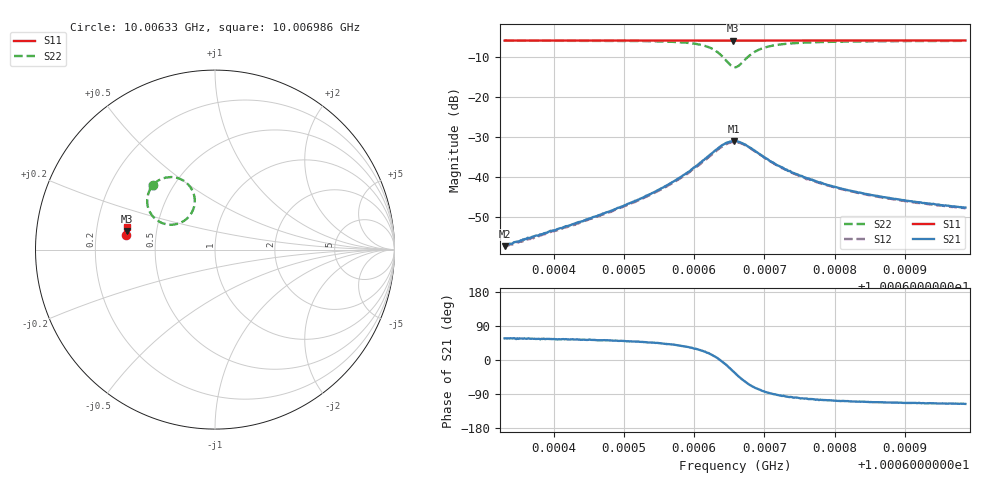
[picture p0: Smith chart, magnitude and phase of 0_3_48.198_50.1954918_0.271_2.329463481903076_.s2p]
#  HZ  S  RI  R  50.00
! Rohde & Schwarz Vector Network Analyzer
! Rohde-Schwarz,ZNB20-2Port,1311601062101988,3.16
! Created: UTC 3/20/2024, 11:36:00 AM
! freq[Hz]  re:S11  im:S11  re:S21  im:S21  re:S12  im:S12  re:S22  im:S22
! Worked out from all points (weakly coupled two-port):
!   401 points, 10.00633 GHz to 10.006986 GHz, reference 50 ohm
!   highest |S21| = -31.07 dB at 10.006656 GHz (marker M1); lowest = -57.3 dB at 10.00633 GHz (marker M2)
!   lowest |S11| = -6.0 dB at 10.006655 GHz (marker M3), VSWR 3.00, Z = 16.8 + j4.65 ohm
!   |S11| at or under -10 dB: nowhere
!   |S22| runs from -12.6 to -6.0 dB; largest |S21 - S12| = 0.0022
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1.00063301e10  -0.4954 0.0836  0.000741 0.00114  0.000691 0.00118  -0.3449 0.3624
1.000644e10  -0.4943 0.0909  0.00167 0.00224  0.00153 0.00228  -0.3291 0.3757
1.00064974e10  -0.4936 0.0947  0.00272 0.00329  0.00251 0.00334  -0.3142 0.3856
1.00065499e10  -0.4928 0.0981  0.00495 0.00489  0.0046 0.00495  -0.2876 0.3975
1.00065909e10  -0.4921 0.1011  0.00941 0.00646  0.00881 0.00669  -0.2407 0.4041
1.00066171e10  -0.4909 0.103  0.0161 0.00595  0.0152 0.00647  -0.1791 0.3862
1.00066286e10  -0.4903 0.1035  0.0205 0.00363  0.0196 0.0046  -0.1431 0.3559
1.00066401e10  -0.4895 0.1038  0.0248 -0.00203  0.0239 -0.000368  -0.1153 0.297
1.00066483e10  -0.4894 0.1037  0.0258 -0.00807  0.0255 -0.00607  -0.1168 0.2383
1.00066548e10  -0.4892 0.1035  0.0245 -0.0134  0.0247 -0.0114  -0.1392 0.1915
1.00066565e10  -0.4893 0.1036  0.0238 -0.0147  0.0241 -0.0127  -0.1478 0.1813
1.00066581e10  -0.4893 0.1033  0.0229 -0.0157  0.0234 -0.0139  -0.1572 0.1722
1.0006663e10  -0.4894 0.1034  0.0201 -0.0188  0.0209 -0.0167  -0.1896 0.1508
1.00066729e10  -0.4898 0.1037  0.0135 -0.0213  0.0145 -0.0201  -0.2577 0.1391
1.0006686e10  -0.4906 0.1044  0.00633 -0.0203  0.00742 -0.0195  -0.323 0.1636
1.00066991e10  -0.4909 0.1054  0.00223 -0.0175  0.00319 -0.0173  -0.3562 0.1982
1.00067319e10  -0.4909 0.1078  -0.00147 -0.0122  -0.000828 -0.0122  -0.3775 0.2599
1.0006768e10  -0.4907 0.1106  -0.0021 -0.00901  -0.00171 -0.00877  -0.3759 0.2946
1.00068156e10  -0.4901 0.1139  -0.0022 -0.00655  -0.00187 -0.00656  -0.3693 0.3185
1.00068779e10  -0.4893 0.118  -0.00205 -0.00505  -0.00178 -0.00503  -0.3614 0.3357
1.00069173e10  -0.4889 0.1203  -0.00197 -0.00442  -0.00168 -0.00441  -0.3572 0.3427
1.00069861e10  -0.4878 0.1248  -0.00181 -0.00372  -0.00156 -0.00376  -0.3509 0.3522
